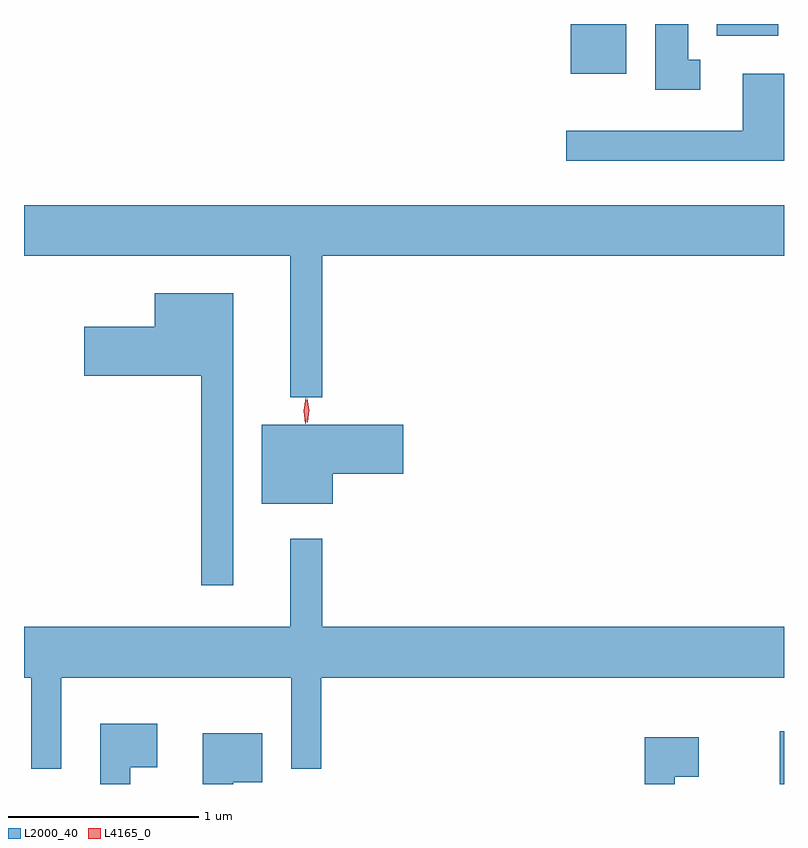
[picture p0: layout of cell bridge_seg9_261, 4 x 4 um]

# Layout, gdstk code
import gdstk
lib = gdstk.Library(unit=1e-6, precision=1e-09)
def R(c, l, rs):  # rectangles x0, y0, x1, y1
    for r in rs: c.add(gdstk.rectangle(r[:2], r[2:], *l))
def P(c, l, *ps):  # polygons
    for p in ps: c.add(gdstk.Polygon(p, *l))
L2000_40 = (2000, 40)
L4165_0 = (4165, 0)

bridge_seg9_261 = lib.new_cell('bridge_seg9_261')
R(bridge_seg9_261, L2000_40, [(923.806,2071.177,923.829,2071.454), (922.706,2074.916,922.999,2075.177), (923.476,2075.116,923.799,2075.177)])
P(bridge_seg9_261, L2000_40, [(923.388,2074.989),(923.324,2074.989),(923.324,2075.177),(923.151,2075.177),(923.151,2074.831),(923.388,2074.831)],
  [(923.829,2074.914),(923.611,2074.914),(923.611,2074.614),(922.683,2074.614),(922.683,2074.456),(923.829,2074.456)],
  [(921.399,2073.956),(923.829,2073.956),(923.829,2074.224),(919.829,2074.224),(919.829,2073.956),(921.231,2073.956),(921.231,2073.213),(921.399,2073.213)],
  [(920.929,2073.759),(920.516,2073.759),(920.516,2073.584),(920.146,2073.584),(920.146,2073.326),(920.761,2073.326),(920.761,2072.222),(920.929,2072.222)],
  [(921.454,2072.811),(921.824,2072.811),(921.824,2073.069),(921.081,2073.069),(921.081,2072.651),(921.454,2072.651)],
  [(921.231,2072.004),(919.829,2072.004),(919.829,2071.736),(919.866,2071.736),(919.866,2071.258),(920.024,2071.258),(920.024,2071.736),(921.236,2071.736),(921.236,2071.258),(921.394,2071.258),(921.394,2071.736),(923.829,2071.736),(923.829,2072.004),(921.399,2072.004),(921.399,2072.468),(921.231,2072.468)],
  [(920.389,2071.266),(920.529,2071.266),(920.529,2071.494),(920.231,2071.494),(920.231,2071.177),(920.389,2071.177)],
  [(920.929,2071.186),(921.084,2071.186),(921.084,2071.444),(920.771,2071.444),(920.771,2071.177),(920.929,2071.177)],
  [(923.254,2071.216),(923.379,2071.216),(923.379,2071.424),(923.096,2071.424),(923.096,2071.177),(923.254,2071.177)])
P(bridge_seg9_261, L4165_0, [(921.31,2073.074),(921.302,2073.142),(921.312,2073.21),(921.312,2073.21),(921.313,2073.21),(921.322,2073.142),(921.311,2073.074),(921.311,2073.074)],
  [(921.322,2073.08),(921.321,2073.081),(921.311,2073.144),(921.32,2073.206),(921.32,2073.207),(921.321,2073.206),(921.331,2073.144),(921.322,2073.081)])

lib.write_gds('bridge_seg9_261.gds')
